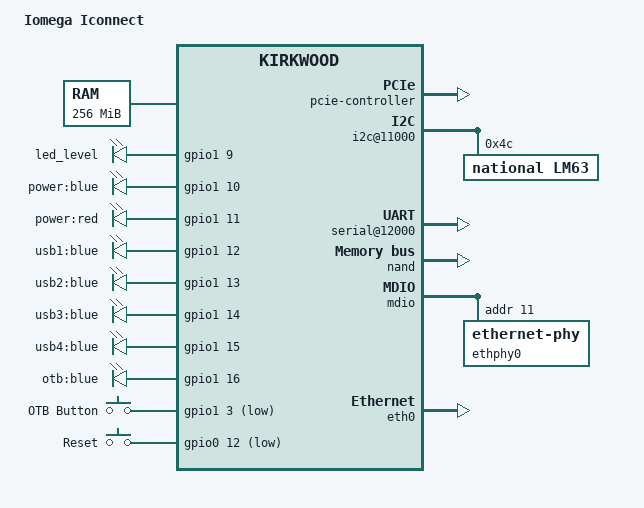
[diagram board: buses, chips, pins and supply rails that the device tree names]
/dts-v1/;

#include "kirkwood.dtsi"
#include "kirkwood-6281.dtsi"

/ {
	model = "Iomega Iconnect";
	compatible = "iom,iconnect-1.1", "iom,iconnect", "marvell,kirkwood-88f6281", "marvell,kirkwood";

	memory {
		device_type = "memory";
		reg = <0x00000000 0x10000000>;
	};

	chosen {
		bootargs = "console=ttyS0,115200n8 earlyprintk";
		stdout-path = &uart0;
		linux,initrd-start = <0x4500040>;
		linux,initrd-end   = <0x4800000>;
	};

	mbus {
		pcie-controller {
			status = "okay";

			pcie@1,0 {
				status = "okay";
			};
		};
	};

	ocp@f1000000 {
		pinctrl: pin-controller@10000 {
			pmx_button_reset: pmx-button-reset {
				marvell,pins = "mpp12";
				marvell,function = "gpio";
			};
			pmx_button_otb: pmx-button-otb {
				marvell,pins = "mpp35";
				marvell,function = "gpio";
			};
			pmx_led_level: pmx-led-level {
				marvell,pins = "mpp41";
				marvell,function = "gpio";
			};
			pmx_led_power_blue: pmx-led-power-blue {
				marvell,pins = "mpp42";
				marvell,function = "gpio";
			};
			pmx_led_power_red: pmx-power-red {
				marvell,pins = "mpp43";
				marvell,function = "gpio";
			};
			pmx_led_usb1: pmx-led-usb1 {
				marvell,pins = "mpp44";
				marvell,function = "gpio";
			};
			pmx_led_usb2: pmx-led-usb2 {
				marvell,pins = "mpp45";
				marvell,function = "gpio";
			};
			pmx_led_usb3: pmx-led-usb3 {
				marvell,pins = "mpp46";
				marvell,function = "gpio";
			};
			pmx_led_usb4: pmx-led-usb4 {
				marvell,pins = "mpp47";
				marvell,function = "gpio";
			};
			pmx_led_otb: pmx-led-otb {
				marvell,pins = "mpp48";
				marvell,function = "gpio";
			};
		};
		i2c@11000 {
			status = "okay";

			lm63: lm63@4c {
				compatible = "national,lm63";
				reg = <0x4c>;
			};
		};
		serial@12000 {
			status = "ok";
		};
	};

	gpio-leds {
		compatible = "gpio-leds";
		pinctrl-0 = < &pmx_led_level &pmx_led_power_blue
			      &pmx_led_power_red &pmx_led_usb1
			      &pmx_led_usb2 &pmx_led_usb3
			      &pmx_led_usb4 &pmx_led_otb >;
		pinctrl-names = "default";

		led-level {
			label = "led_level";
			gpios = <&gpio1 9 GPIO_ACTIVE_HIGH>;
			default-state = "on";
		};
		power-blue {
			label = "power:blue";
			gpios = <&gpio1 10 GPIO_ACTIVE_HIGH>;
			default-state = "keep";
		};
		power-red {
			label = "power:red";
			gpios = <&gpio1 11 GPIO_ACTIVE_HIGH>;
		};
		usb1 {
			label = "usb1:blue";
			gpios = <&gpio1 12 GPIO_ACTIVE_HIGH>;
		};
		usb2 {
			label = "usb2:blue";
			gpios = <&gpio1 13 GPIO_ACTIVE_HIGH>;
		};
		usb3 {
			label = "usb3:blue";
			gpios = <&gpio1 14 GPIO_ACTIVE_HIGH>;
		};
		usb4 {
			label = "usb4:blue";
			gpios = <&gpio1 15 GPIO_ACTIVE_HIGH>;
		};
		otb {
			label = "otb:blue";
			gpios = <&gpio1 16 GPIO_ACTIVE_HIGH>;
		};
	};

	gpio_keys {
		compatible = "gpio-keys";
		#address-cells = <1>;
		#size-cells = <0>;
		pinctrl-0 = < &pmx_button_reset &pmx_button_otb >;
		pinctrl-names = "default";

		button@1 {
			label = "OTB Button";
			linux,code = <KEY_COPY>;
			gpios = <&gpio1 3 GPIO_ACTIVE_LOW>;
			debounce-interval = <100>;
		};
		button@2 {
			label = "Reset";
			linux,code = <KEY_RESTART>;
			gpios = <&gpio0 12 GPIO_ACTIVE_LOW>;
			debounce-interval = <100>;
		};
	};
};

&nand {
	status = "okay";

	partition@0 {
		label = "uboot";
		reg = <0x0000000 0xc0000>;
	};

	partition@a0000 {
		label = "env";
		reg = <0xa0000 0x20000>;
	};

	partition@100000 {
		label = "zImage";
		reg = <0x100000 0x300000>;
	};

	partition@540000 {
		label = "initrd";
		reg = <0x540000 0x300000>;
	};

	partition@980000 {
		label = "boot";
		reg = <0x980000 0x1f400000>;
	};
};

&mdio {
	status = "okay";

	ethphy0: ethernet-phy@11 {
		reg = <11>;
	};
};

&eth0 {
	status = "okay";
	ethernet0-port@0 {
		phy-handle = <&ethphy0>;
	};
};
